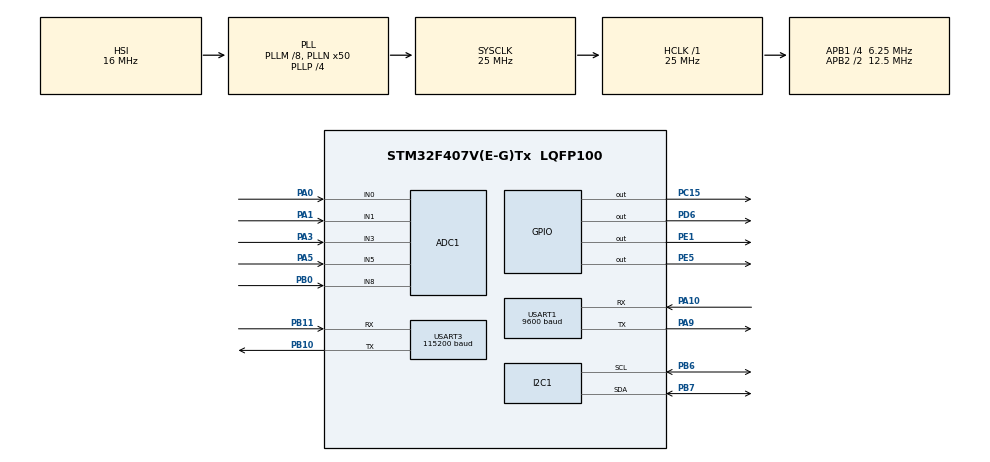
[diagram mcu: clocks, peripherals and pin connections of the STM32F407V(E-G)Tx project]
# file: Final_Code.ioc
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ADC1.Channel-0\#ChannelRegularConversion=ADC_CHANNEL_0
ADC1.Channel-1\#ChannelRegularConversion=ADC_CHANNEL_1
ADC1.Channel-2\#ChannelRegularConversion=ADC_CHANNEL_3
ADC1.Channel-3\#ChannelRegularConversion=ADC_CHANNEL_5
ADC1.Channel-4\#ChannelRegularConversion=ADC_CHANNEL_8
ADC1.NbrOfConversion=5
ADC1.NbrOfConversionFlag=1
ADC1.Rank-0\#ChannelRegularConversion=1
ADC1.Rank-1\#ChannelRegularConversion=2
ADC1.Rank-2\#ChannelRegularConversion=3
ADC1.Rank-3\#ChannelRegularConversion=4
ADC1.Rank-4\#ChannelRegularConversion=5
ADC1.SamplingTime-0\#ChannelRegularConversion=ADC_SAMPLETIME_56CYCLES
ADC1.SamplingTime-1\#ChannelRegularConversion=ADC_SAMPLETIME_56CYCLES
ADC1.SamplingTime-2\#ChannelRegularConversion=ADC_SAMPLETIME_56CYCLES
ADC1.SamplingTime-3\#ChannelRegularConversion=ADC_SAMPLETIME_56CYCLES
ADC1.SamplingTime-4\#ChannelRegularConversion=ADC_SAMPLETIME_56CYCLES
ADC1.master=1
Dma.ADC1.0.Direction=DMA_PERIPH_TO_MEMORY
Dma.ADC1.0.FIFOMode=DMA_FIFOMODE_DISABLE
Dma.ADC1.0.Instance=DMA2_Stream0
Dma.ADC1.0.MemDataAlignment=DMA_MDATAALIGN_HALFWORD
Dma.ADC1.0.MemInc=DMA_MINC_ENABLE
Dma.ADC1.0.Mode=DMA_NORMAL
Dma.ADC1.0.PeriphDataAlignment=DMA_PDATAALIGN_HALFWORD
Dma.ADC1.0.PeriphInc=DMA_PINC_DISABLE
Dma.ADC1.0.Priority=DMA_PRIORITY_LOW
Dma.Request0=ADC1
Mcu.Family=STM32F4
Mcu.Name=STM32F407V(E-G)Tx
Mcu.Package=LQFP100
NVIC.DMA2_Stream0_IRQn=true\:0\:0\:false\:false\:true\:false\:true\:true
NVIC.PriorityGroup=NVIC_PRIORITYGROUP_0
PA0-WKUP.Signal=ADCx_IN0
PA1.Signal=ADCx_IN1
PA10.Mode=Asynchronous
PA10.Signal=USART1_RX
PA3.Signal=ADCx_IN3
PA5.Signal=ADCx_IN5
PA9.Mode=Asynchronous
PA9.Signal=USART1_TX
PB0.Signal=ADCx_IN8
PB10.Mode=Asynchronous
PB10.Signal=USART3_TX
PB11.Mode=Asynchronous
PB11.Signal=USART3_RX
PB6.Mode=I2C
PB6.Signal=I2C1_SCL
PB7.Mode=I2C
PB7.Signal=I2C1_SDA
PC15-OSC32_OUT.Signal=GPIO_Output
PD6.Signal=GPIO_Output
PE1.Signal=GPIO_Output
PE5.Signal=GPIO_Output
ProjectManager.HeapSize=0x200
ProjectManager.StackSize=0x400
ProjectManager.TargetToolchain=STM32CubeIDE
RCC.48MHZClocksFreq_Value=14285714.285714285
RCC.AHBFreq_Value=25000000
RCC.APB1CLKDivider=RCC_HCLK_DIV4
RCC.APB1Freq_Value=6250000
RCC.APB1TimFreq_Value=12500000
RCC.APB2CLKDivider=RCC_HCLK_DIV2
RCC.APB2Freq_Value=12500000
RCC.APB2TimFreq_Value=25000000
RCC.CortexFreq_Value=25000000
RCC.HCLKFreq_Value=25000000
RCC.HSE_VALUE=8000000
RCC.HSI_VALUE=16000000
RCC.LSE_VALUE=32768
RCC.PLLM=8
RCC.PLLN=50
RCC.PLLP=RCC_PLLP_DIV4
RCC.PLLQ=7
RCC.SYSCLKFreq_VALUE=25000000
RCC.SYSCLKSource=RCC_SYSCLKSOURCE_PLLCLK
RCC.VCOOutputFreq_Value=100000000
SH.ADCx_IN0.0=ADC1_IN0,IN0
SH.ADCx_IN1.0=ADC1_IN1,IN1
SH.ADCx_IN3.0=ADC1_IN3,IN3
SH.ADCx_IN5.0=ADC1_IN5,IN5
SH.ADCx_IN8.0=ADC1_IN8,IN8
USART1.BaudRate=9600
USART1.VirtualMode=VM_ASYNC
USART3.BaudRate=115200
USART3.VirtualMode=VM_ASYNC
board=STM32F407G-DISC1

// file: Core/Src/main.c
/* USER CODE BEGIN Header */
/**
  ******************************************************************************
  * @file           : main.c
  * @brief          : Main program body
  ******************************************************************************
  * @attention
  *
  * Copyright (c) 2025 STMicroelectronics.
  * All rights reserved.
  *
  * This software is licensed under terms that can be found in the LICENSE file
  * in the root directory of this software component.
  * If no LICENSE file comes with this software, it is provided AS-IS.
  *
  ******************************************************************************
  */
/* USER CODE END Header */
#include "main.h"

/* USER CODE BEGIN Includes */
#include "lcd.h"
#include "GPS.h"
#include <string.h>
#include <stdio.h>
#include <stdlib.h>
/* USER CODE END Includes */

ADC_HandleTypeDef hadc1;
DMA_HandleTypeDef hdma_adc1;

I2C_HandleTypeDef hi2c1;

UART_HandleTypeDef huart1;
UART_HandleTypeDef huart3;

/* USER CODE BEGIN PV */
char latitude[20];
char longitude[20];
/* USER CODE END PV */

void SystemClock_Config(void);
static void MX_GPIO_Init(void);
static void MX_DMA_Init(void);
static void MX_I2C1_Init(void);
static void MX_ADC1_Init(void);
static void MX_USART1_UART_Init(void);
static void MX_USART3_UART_Init(void);

int main(void)
{

  /* MCU Configuration--------------------------------------------------------*/

  /* Reset of all peripherals, Initializes the Flash interface and the Systick. */
  HAL_Init();

  /* Configure the system clock */
  SystemClock_Config();

  /* Initialize all configured peripherals */
  MX_GPIO_Init();
  MX_DMA_Init();
  MX_I2C1_Init();
  MX_ADC1_Init();
  MX_USART1_UART_Init();
  MX_USART3_UART_Init();
  /* USER CODE BEGIN 2 */
  LcdInit(&hi2c1);
  uint16_t adc_values[5];
  /* USER CODE END 2 */

  /* Infinite loop */
  /* USER CODE BEGIN WHILE */
  while (1)
  {
	  HAL_ADC_Start_DMA(&hadc1, (uint32_t*)adc_values, 5);
	  GPS_Read_Location(latitude, longitude);

	  LcdPuts(LCD_LINE1,"APS System");

	  char str[20];
	  	  uint16_t value = adc_values[0];
	  	  sprintf(str, "MQ3 = %d",value);
	  	  //LcdPuts(LCD_LINE2,str);
	  	  if(value>=3600){
	  		HAL_GPIO_WritePin(GPIOC, GPIO_PIN_15, GPIO_PIN_RESET);
	  		HAL_GPIO_WritePin(GPIOD, GPIO_PIN_6, GPIO_PIN_RESET);
	  		char buffer[100];
	  		snprintf(buffer, sizeof(buffer), "%s,%s  Alchole Detected!!!!\r\n", latitude, longitude);
	  		HAL_UART_Transmit(&huart3, (uint8_t*)buffer, strlen(buffer), HAL_MAX_DELAY);
	  		HAL_Delay(100);
	  	  }
	  	  else{
	  		HAL_GPIO_WritePin(GPIOC, GPIO_PIN_15, GPIO_PIN_SET);
	  		HAL_GPIO_WritePin(GPIOD, GPIO_PIN_6, GPIO_PIN_SET);
	  	  }

	  char str1[20];
	  	  uint16_t data1 = adc_values[1];
	  	  sprintf(str1, "Rain VAL = %d", data1);
	  	  //LcdPuts(LCD_LINE1,str1);
	  	  if(data1>=3800){
	  		LcdPuts(LCD_LINE2,"        ");
	  	  }
	  	  else{
	  		LcdPuts(LCD_LINE2,"ABS-ON");
	  		HAL_Delay(500);
	  		HAL_GPIO_WritePin(GPIOD, GPIO_PIN_6, GPIO_PIN_RESET);
	  	  }

	  char str2[20];
	  	  uint16_t data2 = adc_values[2];
	  	  sprintf(str2, "LDR VAL = %-6d", data2);
	  	  //LcdPuts(LCD_LINE2,str2);
	  	  if(data2 > 2500){
	  		HAL_GPIO_WritePin(GPIOE, GPIO_PIN_1, GPIO_PIN_RESET);
	  	  }
	  	  else
	  	  {
	  		HAL_GPIO_WritePin(GPIOE, GPIO_PIN_1, GPIO_PIN_SET);
	  		HAL_GPIO_WritePin(GPIOE, GPIO_PIN_5, GPIO_PIN_SET);
	  	  }

	  char str3[20];
	  	  uint16_t data3 = adc_values[3];
	  	  float voltage = (data3 * 3.3f) / 4095.0f;
	  	  float temp = voltage / 0.01f;
	  	  int temp_int = (int)(temp * 100);
	  	  int whole = temp_int / 100;
	  	  int frac = temp_int % 100;
	  	  sprintf(str3, "Temp: %d.%02d C", whole, abs(frac));
	  	  //LcdPuts(LCD_LINE2,str3);
	  	  if(whole > 35){
	  		LcdPuts(LCD_LINE2,"OVER HEAT");
	  		HAL_GPIO_WritePin(GPIOD, GPIO_PIN_6, GPIO_PIN_RESET);
	  		char buffer[100];
	  		snprintf(buffer, sizeof(buffer), "%s,%s  Vehicale Over Heated!!!!\r\n", latitude, longitude);
	  		HAL_UART_Transmit(&huart3, (uint8_t*)buffer, strlen(buffer), HAL_MAX_DELAY);
	  		HAL_Delay(500);
	  	  }
	  	  else{
	  		LcdPuts(LCD_LINE2,"          ");
	  		HAL_GPIO_WritePin(GPIOD, GPIO_PIN_6, GPIO_PIN_SET);
	  	  }

	  char str4[20];
	  	   uint16_t data4 = adc_values[4];
	  	   sprintf(str4, "vib = %d",data4);
	  	   //LcdPuts(LCD_LINE2, (uint16_t*)str4);
	  	   if(data4 < 4085){
	  		   LcdPuts(LCD_LINE2,"drive carefully");
	  		   HAL_GPIO_WritePin(GPIOD, GPIO_PIN_6, GPIO_PIN_RESET);
	  		   char buffer[100];
	  		   snprintf(buffer, sizeof(buffer), "%s,%s  Rash Driving Detected!!!!\r\n", latitude, longitude);
	  		   HAL_UART_Transmit(&huart3, (uint8_t*)buffer, strlen(buffer), HAL_MAX_DELAY);
	  		   HAL_Delay(500);
	  		   LcdPuts(LCD_LINE2,"                ");
	  		   HAL_GPIO_WritePin(GPIOD, GPIO_PIN_6, GPIO_PIN_SET);
	  		}

    /* USER CODE END WHILE */

  }
}

void SystemClock_Config(void)
{
  RCC_OscInitTypeDef RCC_OscInitStruct = {0};
  RCC_ClkInitTypeDef RCC_ClkInitStruct = {0};

  /** Configure the main internal regulator output voltage
  */
  __HAL_RCC_PWR_CLK_ENABLE();
  __HAL_PWR_VOLTAGESCALING_CONFIG(PWR_REGULATOR_VOLTAGE_SCALE1);

  /** Initializes the RCC Oscillators according to the specified parameters
  * in the RCC_OscInitTypeDef structure.
  */
  RCC_OscInitStruct.OscillatorType = RCC_OSCILLATORTYPE_HSI;
  RCC_OscInitStruct.HSIState = RCC_HSI_ON;
  RCC_OscInitStruct.HSICalibrationValue = RCC_HSICALIBRATION_DEFAULT;
  RCC_OscInitStruct.PLL.PLLState = RCC_PLL_ON;
  RCC_OscInitStruct.PLL.PLLSource = RCC_PLLSOURCE_HSI;
  RCC_OscInitStruct.PLL.PLLM = 8;
  RCC_OscInitStruct.PLL.PLLN = 50;
  RCC_OscInitStruct.PLL.PLLP = RCC_PLLP_DIV4;
  RCC_OscInitStruct.PLL.PLLQ = 7;
  if (HAL_RCC_OscConfig(&RCC_OscInitStruct) != HAL_OK)
  {
    Error_Handler();
  }

  /** Initializes the CPU, AHB and APB buses clocks
  */
  RCC_ClkInitStruct.ClockType = RCC_CLOCKTYPE_HCLK|RCC_CLOCKTYPE_SYSCLK
                              |RCC_CLOCKTYPE_PCLK1|RCC_CLOCKTYPE_PCLK2;
  RCC_ClkInitStruct.SYSCLKSource = RCC_SYSCLKSOURCE_PLLCLK;
  RCC_ClkInitStruct.AHBCLKDivider = RCC_SYSCLK_DIV1;
  RCC_ClkInitStruct.APB1CLKDivider = RCC_HCLK_DIV4;
  RCC_ClkInitStruct.APB2CLKDivider = RCC_HCLK_DIV2;

  if (HAL_RCC_ClockConfig(&RCC_ClkInitStruct, FLASH_LATENCY_0) != HAL_OK)
  {
    Error_Handler();
  }
}

static void MX_ADC1_Init(void)
{

  ADC_ChannelConfTypeDef sConfig = {0};

  /** Configure the global features of the ADC (Clock, Resolution, Data Alignment and number of conversion)
  */
  hadc1.Instance = ADC1;
  hadc1.Init.ClockPrescaler = ADC_CLOCK_SYNC_PCLK_DIV2;
  hadc1.Init.Resolution = ADC_RESOLUTION_12B;
  hadc1.Init.ScanConvMode = ENABLE;
  hadc1.Init.ContinuousConvMode = DISABLE;
  hadc1.Init.DiscontinuousConvMode = DISABLE;
  hadc1.Init.ExternalTrigConvEdge = ADC_EXTERNALTRIGCONVEDGE_NONE;
  hadc1.Init.ExternalTrigConv = ADC_SOFTWARE_START;
  hadc1.Init.DataAlign = ADC_DATAALIGN_RIGHT;
  hadc1.Init.NbrOfConversion = 5;
  hadc1.Init.DMAContinuousRequests = DISABLE;
  hadc1.Init.EOCSelection = ADC_EOC_SINGLE_CONV;
  if (HAL_ADC_Init(&hadc1) != HAL_OK)
  {
    Error_Handler();
  }

  /** Configure for the selected ADC regular channel its corresponding rank in the sequencer and its sample time.
  */
  sConfig.Channel = ADC_CHANNEL_0;
  sConfig.Rank = 1;
  sConfig.SamplingTime = ADC_SAMPLETIME_56CYCLES;
  if (HAL_ADC_ConfigChannel(&hadc1, &sConfig) != HAL_OK)
  {
    Error_Handler();
  }

  /** Configure for the selected ADC regular channel its corresponding rank in the sequencer and its sample time.
  */
  sConfig.Channel = ADC_CHANNEL_1;
  sConfig.Rank = 2;
  if (HAL_ADC_ConfigChannel(&hadc1, &sConfig) != HAL_OK)
  {
    Error_Handler();
  }

  /** Configure for the selected ADC regular channel its corresponding rank in the sequencer and its sample time.
  */
  sConfig.Channel = ADC_CHANNEL_3;
  sConfig.Rank = 3;
  if (HAL_ADC_ConfigChannel(&hadc1, &sConfig) != HAL_OK)
  {
    Error_Handler();
  }

  /** Configure for the selected ADC regular channel its corresponding rank in the sequencer and its sample time.
  */
  sConfig.Channel = ADC_CHANNEL_5;
  sConfig.Rank = 4;
  if (HAL_ADC_ConfigChannel(&hadc1, &sConfig) != HAL_OK)
  {
    Error_Handler();
  }

  /** Configure for the selected ADC regular channel its corresponding rank in the sequencer and its sample time.
  */
  sConfig.Channel = ADC_CHANNEL_8;
  sConfig.Rank = 5;
  if (HAL_ADC_ConfigChannel(&hadc1, &sConfig) != HAL_OK)
  {
    Error_Handler();
  }

}

static void MX_I2C1_Init(void)
{

  hi2c1.Instance = I2C1;
  hi2c1.Init.ClockSpeed = 100000;
  hi2c1.Init.DutyCycle = I2C_DUTYCYCLE_2;
  hi2c1.Init.OwnAddress1 = 0;
  hi2c1.Init.AddressingMode = I2C_ADDRESSINGMODE_7BIT;
  hi2c1.Init.DualAddressMode = I2C_DUALADDRESS_DISABLE;
  hi2c1.Init.OwnAddress2 = 0;
  hi2c1.Init.GeneralCallMode = I2C_GENERALCALL_DISABLE;
  hi2c1.Init.NoStretchMode = I2C_NOSTRETCH_DISABLE;
  if (HAL_I2C_Init(&hi2c1) != HAL_OK)
  {
    Error_Handler();
  }

}

static void MX_USART1_UART_Init(void)
{

  huart1.Instance = USART1;
  huart1.Init.BaudRate = 9600;
  huart1.Init.WordLength = UART_WORDLENGTH_8B;
  huart1.Init.StopBits = UART_STOPBITS_1;
  huart1.Init.Parity = UART_PARITY_NONE;
  huart1.Init.Mode = UART_MODE_TX_RX;
  huart1.Init.HwFlowCtl = UART_HWCONTROL_NONE;
  huart1.Init.OverSampling = UART_OVERSAMPLING_16;
  if (HAL_UART_Init(&huart1) != HAL_OK)
  {
    Error_Handler();
  }

}

static void MX_USART3_UART_Init(void)
{

  huart3.Instance = USART3;
  huart3.Init.BaudRate = 115200;
  huart3.Init.WordLength = UART_WORDLENGTH_8B;
  huart3.Init.StopBits = UART_STOPBITS_1;
  huart3.Init.Parity = UART_PARITY_NONE;
  huart3.Init.Mode = UART_MODE_TX_RX;
  huart3.Init.HwFlowCtl = UART_HWCONTROL_NONE;
  huart3.Init.OverSampling = UART_OVERSAMPLING_16;
  if (HAL_UART_Init(&huart3) != HAL_OK)
  {
    Error_Handler();
  }

}

static void MX_DMA_Init(void)
{

  /* DMA controller clock enable */
  __HAL_RCC_DMA2_CLK_ENABLE();

  /* DMA interrupt init */
  /* DMA2_Stream0_IRQn interrupt configuration */
  HAL_NVIC_SetPriority(DMA2_Stream0_IRQn, 0, 0);
  HAL_NVIC_EnableIRQ(DMA2_Stream0_IRQn);

}

static void MX_GPIO_Init(void)
{
  GPIO_InitTypeDef GPIO_InitStruct = {0};

  /* GPIO Ports Clock Enable */
  __HAL_RCC_GPIOE_CLK_ENABLE();
  __HAL_RCC_GPIOC_CLK_ENABLE();
  __HAL_RCC_GPIOA_CLK_ENABLE();
  __HAL_RCC_GPIOB_CLK_ENABLE();
  __HAL_RCC_GPIOD_CLK_ENABLE();

  /*Configure GPIO pin Output Level */
  HAL_GPIO_WritePin(GPIOE, GPIO_PIN_5|GPIO_PIN_1, GPIO_PIN_RESET);

  /*Configure GPIO pin Output Level */
  HAL_GPIO_WritePin(GPIOC, GPIO_PIN_15, GPIO_PIN_RESET);

  /*Configure GPIO pin Output Level */
  HAL_GPIO_WritePin(GPIOD, GPIO_PIN_6, GPIO_PIN_RESET);

  /*Configure GPIO pins : PE5 PE1 */
  GPIO_InitStruct.Pin = GPIO_PIN_5|GPIO_PIN_1;
  GPIO_InitStruct.Mode = GPIO_MODE_OUTPUT_PP;
  GPIO_InitStruct.Pull = GPIO_NOPULL;
  GPIO_InitStruct.Speed = GPIO_SPEED_FREQ_LOW;
  HAL_GPIO_Init(GPIOE, &GPIO_InitStruct);

  /*Configure GPIO pin : PC15 */
  GPIO_InitStruct.Pin = GPIO_PIN_15;
  GPIO_InitStruct.Mode = GPIO_MODE_OUTPUT_PP;
  GPIO_InitStruct.Pull = GPIO_NOPULL;
  GPIO_InitStruct.Speed = GPIO_SPEED_FREQ_LOW;
  HAL_GPIO_Init(GPIOC, &GPIO_InitStruct);

  /*Configure GPIO pin : PD6 */
  GPIO_InitStruct.Pin = GPIO_PIN_6;
  GPIO_InitStruct.Mode = GPIO_MODE_OUTPUT_PP;
  GPIO_InitStruct.Pull = GPIO_NOPULL;
  GPIO_InitStruct.Speed = GPIO_SPEED_FREQ_LOW;
  HAL_GPIO_Init(GPIOD, &GPIO_InitStruct);

}

void Error_Handler(void)
{
  __disable_irq();
  while (1)
  {
  }
}
 * GPS.c
 *
 *  Created on: Jul 21, 2025
 *      Author: durgesh
 */
